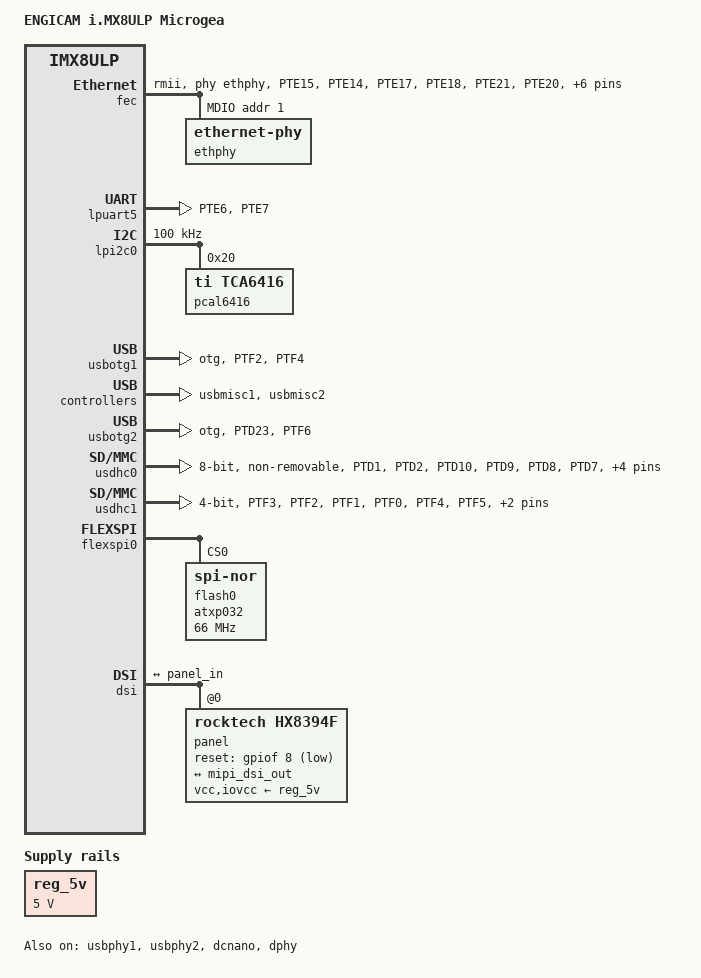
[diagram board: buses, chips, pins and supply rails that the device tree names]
// SPDX-License-Identifier: (GPL-2.0 OR MIT)
/*
 * Copyright 2021 NXP
 */

/dts-v1/;

#include "imx8ulp.dtsi"

/ {
	model = "ENGICAM i.MX8ULP Microgea";
	compatible = "fsl,imx8ulp-evk", "fsl,imx8ulp";

	chosen {
		stdout-path = &lpuart5;
		bootargs = "console=ttyLP1,115200 earlycon";
	};

	reserved-memory {
		#address-cells = <2>;
		#size-cells = <2>;
		ranges;

		linux,cma {
			compatible = "shared-dma-pool";
			reusable;
			size = <0 0x28000000>;
			linux,cma-default;
		};

	};

	reg_5v: regulator-5v {
		compatible = "regulator-fixed";
		regulator-name = "5V";
		regulator-min-microvolt = <5000000>;
		regulator-max-microvolt = <5000000>;
		regulator-always-on;
	};

};


&clock_ext_ts {
	/* External ts clock is 50MHZ from PHY on EVK board. */
	clock-frequency = <50000000>;
};

&fec {
	pinctrl-names = "default";
	pinctrl-0 = <&pinctrl_enet>;
	assigned-clocks = <&cgc1 IMX8ULP_CLK_ENET_TS_SEL>;
	assigned-clock-parents = <&clock_ext_ts>;
	phy-mode = "rmii";
	phy-handle = <&ethphy>;
	status = "okay";

	phy-reset-gpios = <&gpioe 13 GPIO_ACTIVE_LOW>;

	mdio {
		#address-cells = <1>;
		#size-cells = <0>;

		ethphy: ethernet-phy {
			reg = <1>;
			micrel,led-mode = <1>;
		};
	};
};

&flexspi2 {
	pinctrl-names = "default";
	pinctrl-0 = <&pinctrl_flexspi2_ptd>;
	status = "disabled";

	flash1: mt35xu512aba@0 {
		reg = <0>;
		#address-cells = <1>;
		#size-cells = <1>;
		compatible = "jedec,spi-nor";
		spi-max-frequency = <29000000>;
		spi-nor,ddr-quad-read-dummy = <8>;
	};
};

&lpuart5 {
	/* console */
	pinctrl-names = "default", "sleep";
	pinctrl-0 = <&pinctrl_lpuart5>;
	pinctrl-1 = <&pinctrl_lpuart5>;
	status = "okay";
};

&lpi2c0 {
	#address-cells = <1>;
	#size-cells = <0>;
	clock-frequency = <100000>;
	status = "okay";

	pcal6416: gpio@20 {
		compatible = "ti,tca6416";
		reg = <0x20>;
		gpio-controller;
		#gpio-cells = <2>;
	};
};

&usbotg1 {
	pinctrl-names = "default", "sleep";
	pinctrl-0 = <&pinctrl_otgid1>;
	pinctrl-1 = <&pinctrl_otgid1>;
	dr_mode = "otg";
	hnp-disable;
	srp-disable;
	adp-disable;
	over-current-active-low;
	status = "okay";
};

&usbphy1 {
	status = "okay";
};

&usbmisc1 {
	status = "okay";
};

&usbotg2 {
	pinctrl-names = "default", "sleep";
	pinctrl-0 = <&pinctrl_otgid2>;
	pinctrl-1 = <&pinctrl_otgid2>;
	dr_mode = "otg";
	hnp-disable;
	srp-disable;
	adp-disable;
	over-current-active-low;
	status = "okay";
};

&usbphy2 {
	status = "okay";
};

&usbmisc2 {
	status = "okay";
};

&usdhc0 {
	pinctrl-names = "default";
	pinctrl-0 = <&pinctrl_usdhc0>;
	max-frequency = <50000000>;
	no-1-8-v;
	no-mmc-hs400;
	non-removable;
	bus-width = <8>;
	status = "okay";
};

&usdhc1 {
    pinctrl-names = "default";
    pinctrl-0 = <&pinctrl_usdhc1>, <&pinctrl_usdhc1_gpio>;
    cd-gpios = <&gpiod 16 GPIO_ACTIVE_LOW>;
    max-frequency = <50000000>;
    bus-width = <4>;
    no-1-8-v;
    pm-ignore-notify;
    keep-power-in-suspend;
    status = "okay";
};

&iomuxc1 {
	pinctrl_dsi: dsigrp {
		fsl,pins = <
			MX8ULP_PAD_PTF8__PTF8		0x3
		>;
	};

	pinctrl_enet: enetgrp {
		fsl,pins = <
			MX8ULP_PAD_PTE15__ENET0_MDC     0x43
			MX8ULP_PAD_PTE14__ENET0_MDIO    0x43
			MX8ULP_PAD_PTE17__ENET0_RXER    0x43
			MX8ULP_PAD_PTE18__ENET0_CRS_DV  0x43
			MX8ULP_PAD_PTE21__ENET0_RXD0    0x43
			MX8ULP_PAD_PTE20__ENET0_RXD1    0x43
			MX8ULP_PAD_PTE16__ENET0_TXEN    0x43
			MX8ULP_PAD_PTE23__ENET0_TXD0    0x43
			MX8ULP_PAD_PTE22__ENET0_TXD1    0x43
			MX8ULP_PAD_PTE19__ENET0_REFCLK  0x43
			MX8ULP_PAD_PTE13__PTE13			0x43
		>;
	};

	pinctrl_flexspi2_ptd: flexspi2ptdgrp {
		fsl,pins = <

			MX8ULP_PAD_PTD12__FLEXSPI2_A_SS0_B	0x42
			MX8ULP_PAD_PTD13__FLEXSPI2_A_SCLK	0x42
			MX8ULP_PAD_PTD14__FLEXSPI2_A_DATA3	0x42
			MX8ULP_PAD_PTD15__FLEXSPI2_A_DATA2	0x42
			MX8ULP_PAD_PTD16__FLEXSPI2_A_DATA1	0x42
			MX8ULP_PAD_PTD17__FLEXSPI2_A_DATA0	0x42
			MX8ULP_PAD_PTD18__FLEXSPI2_A_DQS	0x42
			MX8ULP_PAD_PTD19__FLEXSPI2_A_DATA7	0x42
			MX8ULP_PAD_PTD20__FLEXSPI2_A_DATA6	0x42
			MX8ULP_PAD_PTD21__FLEXSPI2_A_DATA5	0x42
			MX8ULP_PAD_PTD22__FLEXSPI2_A_DATA4	0x42
		>;
	};

	pinctrl_lpuart5: lpuart5grp {
		fsl,pins = <
			MX8ULP_PAD_PTE6__LPUART5_TX	0x3
			MX8ULP_PAD_PTE7__LPUART5_RX	0x3
		>;
	};

	pinctrl_otgid1: usb1grp {
		fsl,pins = <
			MX8ULP_PAD_PTF2__USB0_ID	0x10003
			MX8ULP_PAD_PTF4__USB0_OC	0x10003
		>;
	};

	pinctrl_otgid2: usb2grp {
		fsl,pins = <
			MX8ULP_PAD_PTD23__USB1_ID	0x10003
			MX8ULP_PAD_PTF6__USB1_OC	0x10003
		>;
	};

	pinctrl_usdhc0: usdhc0grp {
		fsl,pins = <
			MX8ULP_PAD_PTD1__SDHC0_CMD	0x3
			MX8ULP_PAD_PTD2__SDHC0_CLK	0x10002
			MX8ULP_PAD_PTD10__SDHC0_D0	0x3
			MX8ULP_PAD_PTD9__SDHC0_D1	0x3
			MX8ULP_PAD_PTD8__SDHC0_D2	0x3
			MX8ULP_PAD_PTD7__SDHC0_D3	0x3
			MX8ULP_PAD_PTD6__SDHC0_D4	0x3
			MX8ULP_PAD_PTD5__SDHC0_D5	0x3
			MX8ULP_PAD_PTD4__SDHC0_D6	0x3
			MX8ULP_PAD_PTD3__SDHC0_D7	0x3
		>;
	};

	pinctrl_usdhc1: usdhc1grp {
		fsl,pins = <
			MX8ULP_PAD_PTF3__SDHC1_CMD	0x3
			MX8ULP_PAD_PTF2__SDHC1_CLK	0x10002
			MX8ULP_PAD_PTF1__SDHC1_D0	0x3
			MX8ULP_PAD_PTF0__SDHC1_D1	0x3
			MX8ULP_PAD_PTF4__SDHC1_D3	0x3
			MX8ULP_PAD_PTF5__SDHC1_D2	0x3
		>;
	};

	pinctrl_usdhc1_gpio: usdhc1grpgpio {
		fsl,pins = <
			MX8ULP_PAD_PTD16__PTD16	0x3
		>;
	};

};

&flexspi0 {
	status = "okay";

	flash0: atxp032@0 {
		reg = <0>;
		#address-cells = <1>;
		#size-cells = <1>;
		compatible = "jedec,spi-nor";
		spi-max-frequency = <66000000>;
	};
};

&dsi {
	status = "okay";

	panel@0 {
		compatible = "rocktech,hx8394f";
		reg = <0>;
		pinctrl-names = "default";
		pinctrl-0 = <&pinctrl_dsi>;
		himax,dsi-lanes = <2>;
		reset-gpios = <&gpiof 8 GPIO_ACTIVE_LOW>;
		vcc-supply = <&reg_5v>;
		iovcc-supply = <&reg_5v>;

		port {
			panel_in: endpoint {
				remote-endpoint = <&mipi_dsi_out>;
			};
		};
	};

	ports {
		port@1 {
			reg = <1>;

			mipi_dsi_out: endpoint {
				remote-endpoint = <&panel_in>;
			};
		};
	};
};

&dcnano {
	status = "okay";
};

&dphy {
	status = "okay";
};
